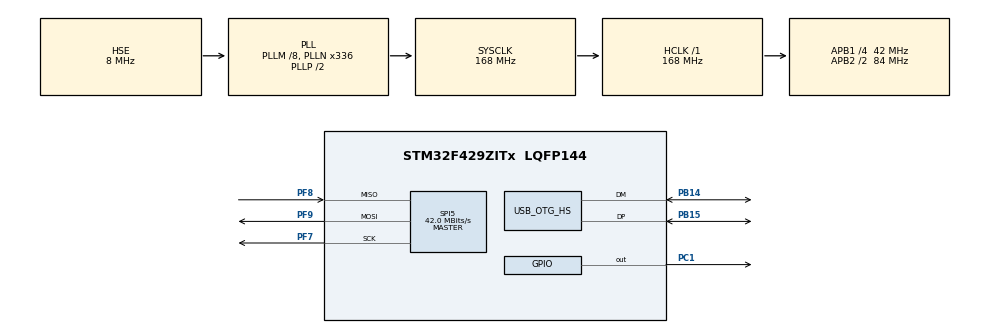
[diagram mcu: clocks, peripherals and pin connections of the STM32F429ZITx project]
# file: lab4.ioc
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Mcu.Family=STM32F4
NVIC.OTG_HS_IRQn=true\:5\:0\:false\:false\:true\:true\:true\:true
VP_SYS_VS_tim6.Mode=TIM6
VP_USB_DEVICE_VS_USB_DEVICE_CDC_HS.Mode=CDC_HS
RCC.CortexFreq_Value=168000000
FREERTOS.Tasks01=MyTask02,24,256,StartTask02,Default,NULL,Dynamic,NULL,NULL;myTask01,24,256,StartTask01,Default,NULL,Dynamic,NULL,NULL
NVIC.TIM6_DAC_IRQn=true\:0\:0\:false\:false\:true\:false\:false\:true
RCC.APB1CLKDivider=RCC_HCLK_DIV4
PB15.Signal=USB_OTG_HS_DP
USB_OTG_HS.VirtualMode-Device_Only_FS=Device_Only_FS
SPI5.Mode=SPI_MODE_MASTER
RCC.SYSCLKSource=RCC_SYSCLKSOURCE_PLLCLK
ProjectManager.StackSize=0x400
VP_FREERTOS_VS_CMSIS_V2.Mode=CMSIS_V2
PF7.Mode=Full_Duplex_Master
ProjectManager.TargetToolchain=STM32CubeIDE
PF7.Signal=SPI5_SCK
PH0/OSC_IN.Mode=HSE-External-Oscillator
RCC.HCLKFreq_Value=168000000
RCC.APB2TimFreq_Value=168000000
PH1/OSC_OUT.Signal=RCC_OSC_OUT
RCC.LSE_VALUE=32768
USB_DEVICE.VirtualMode-CDC_HS=Cdc
RCC.AHBFreq_Value=168000000
PB14.Signal=USB_OTG_HS_DM
RCC.HSE_VALUE=8000000
board=custom
RCC.VCOOutputFreq_Value=336000000
PB15.Mode=Device_Only_FS
PH0/OSC_IN.Signal=RCC_OSC_IN
RCC.APB2Freq_Value=84000000
PF9.Mode=Full_Duplex_Master
PB14.Mode=Device_Only_FS
PF8.Mode=Full_Duplex_Master
PH1/OSC_OUT.Mode=HSE-External-Oscillator
Mcu.Name=STM32F429ZITx
RCC.48MHZClocksFreq_Value=48000000
RCC.SYSCLKFreq_VALUE=168000000
Mcu.Package=LQFP144
NVIC.TimeBase=TIM6_DAC_IRQn
NVIC.TimeBaseIP=TIM6
USB_DEVICE.CLASS_NAME_HS=CDC
ProjectManager.HeapSize=0x200
PF8.Signal=SPI5_MISO
RCC.HSI_VALUE=16000000
PF9.Signal=SPI5_MOSI
RCC.PLLQ=7
SPI5.CalculateBaudRate=42.0 MBits/s
NVIC.PriorityGroup=NVIC_PRIORITYGROUP_4
USB_DEVICE.VirtualModeHS=Cdc_HS
RCC.APB2CLKDivider=RCC_HCLK_DIV2
RCC.PLLM=8
RCC.PLLN=336
RCC.APB1TimFreq_Value=84000000
RCC.APB1Freq_Value=42000000
SPI5.VirtualType=VM_MASTER
PC1.Signal=GPIO_Output
SPI5.Direction=SPI_DIRECTION_2LINES

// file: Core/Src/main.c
/* USER CODE BEGIN Header */
/**
  ******************************************************************************
  * @file           : main.c
  * @brief          : Main program body
  ******************************************************************************
  * @attention
  *
  * <h2><center>&copy; Copyright (c) 2022 STMicroelectronics.
  * All rights reserved.</center></h2>
  *
  * This software component is licensed by ST under BSD 3-Clause license,
  * the "License"; You may not use this file except in compliance with the
  * License. You may obtain a copy of the License at:
  *                        opensource.org/licenses/BSD-3-Clause
  *
  ******************************************************************************
  */
/* USER CODE END Header */
#include "main.h"
#include "cmsis_os.h"
#include "usb_device.h"
#include "stm32f429i_discovery_lcd.h"
#include "stm32f429i_discovery_gyroscope.h"
#include "MyLib.h"
#include "math.h"
#include "usbd_cdc_if.h"
#include "string.h"
#include "cmsis_os2.h"
SPI_HandleTypeDef hspi5;

char bufposx[5];
char bufposy[5];
char bufposz[5];

/* Definitions for MyTask02 */
osThreadId_t MyTask02Handle;
const osThreadAttr_t MyTask02_attributes = {
  .name = "MyTask02",
  .stack_size = 256 * 4,
  .priority = (osPriority_t) osPriorityNormal,
};
/* Definitions for myTask01 */
osThreadId_t myTask01Handle;
const osThreadAttr_t myTask01_attributes = {
  .name = "myTask01",
  .stack_size = 256 * 4,
  .priority = (osPriority_t) osPriorityNormal,
};

void SystemClock_Config(void);
static void MX_GPIO_Init(void);
static void MX_SPI5_Init(void);
void StartTask02(void *argument);
void StartTask01(void *argument);

/* USER CODE BEGIN 0 */

/*
 * @brief 	Kiem tra gia tri moi lon hon gia tri cu 1 don vi hay khong
 * @return 	Neu co it nhat 1 gia tri moi lon hon gia tri cu 1 don vi thi tra ve 1
 * 			Nguoc lai, tra ve 0
 */
uint8_t NoiseFilter(float* oldvalue,float* newvalue,int offset){
	uint8_t res = 0;
	for(uint8_t i=0;i<3;i++){
		if(abs(newvalue[i] - oldvalue[i]) > offset) res = 1;
	}
	return res;
}

void ConcatenateStr(const char* firstStr, char* secondStr, char* res){
	uint8_t frlen = strlen(firstStr);
	uint8_t total_len = frlen + strlen(secondStr);
	for(uint8_t i=0;i<total_len;i++){
		if(i<frlen) res[i] = firstStr[i];
		else res[i] = secondStr[i-frlen];
	}
	res[total_len] = '\0';
}

void ResetStr(char* str){
	uint8_t len = strlen(str);
	for(uint8_t i=0;i<len;i++){
		str[i] = '\0';
	}
}

/* USER CODE END 0 */

int main(void)
{

  HAL_Init();

  SystemClock_Config();

  MX_GPIO_Init();
  MX_SPI5_Init();

  osKernelInitialize();

  MyTask02Handle = osThreadNew(StartTask02, NULL, &MyTask02_attributes);

  /* creation of myTask01 */
  myTask01Handle = osThreadNew(StartTask01, NULL, &myTask01_attributes);

  /* Start scheduler */
  osKernelStart();

  /* We should never get here as control is now taken by the scheduler */
  /* Infinite loop */
  while (1)
  {
  }
}

void SystemClock_Config(void)
{
  RCC_OscInitTypeDef RCC_OscInitStruct = {0};
  RCC_ClkInitTypeDef RCC_ClkInitStruct = {0};

  /** Configure the main internal regulator output voltage
  */
  __HAL_RCC_PWR_CLK_ENABLE();
  __HAL_PWR_VOLTAGESCALING_CONFIG(PWR_REGULATOR_VOLTAGE_SCALE1);
  /** Initializes the RCC Oscillators according to the specified parameters
  * in the RCC_OscInitTypeDef structure.
  */
  RCC_OscInitStruct.OscillatorType = RCC_OSCILLATORTYPE_HSE;
  RCC_OscInitStruct.HSEState = RCC_HSE_ON;
  RCC_OscInitStruct.PLL.PLLState = RCC_PLL_ON;
  RCC_OscInitStruct.PLL.PLLSource = RCC_PLLSOURCE_HSE;
  RCC_OscInitStruct.PLL.PLLM = 8;
  RCC_OscInitStruct.PLL.PLLN = 336;
  RCC_OscInitStruct.PLL.PLLP = RCC_PLLP_DIV2;
  RCC_OscInitStruct.PLL.PLLQ = 7;
  if (HAL_RCC_OscConfig(&RCC_OscInitStruct) != HAL_OK)
  {
    Error_Handler();
  }
  /** Initializes the CPU, AHB and APB buses clocks
  */
  RCC_ClkInitStruct.ClockType = RCC_CLOCKTYPE_HCLK|RCC_CLOCKTYPE_SYSCLK
                              |RCC_CLOCKTYPE_PCLK1|RCC_CLOCKTYPE_PCLK2;
  RCC_ClkInitStruct.SYSCLKSource = RCC_SYSCLKSOURCE_PLLCLK;
  RCC_ClkInitStruct.AHBCLKDivider = RCC_SYSCLK_DIV1;
  RCC_ClkInitStruct.APB1CLKDivider = RCC_HCLK_DIV4;
  RCC_ClkInitStruct.APB2CLKDivider = RCC_HCLK_DIV2;

  if (HAL_RCC_ClockConfig(&RCC_ClkInitStruct, FLASH_LATENCY_5) != HAL_OK)
  {
    Error_Handler();
  }
}

static void MX_SPI5_Init(void)
{

  /* SPI5 parameter configuration*/
  hspi5.Instance = SPI5;
  hspi5.Init.Mode = SPI_MODE_MASTER;
  hspi5.Init.Direction = SPI_DIRECTION_2LINES;
  hspi5.Init.DataSize = SPI_DATASIZE_8BIT;
  hspi5.Init.CLKPolarity = SPI_POLARITY_LOW;
  hspi5.Init.CLKPhase = SPI_PHASE_1EDGE;
  hspi5.Init.NSS = SPI_NSS_SOFT;
  hspi5.Init.BaudRatePrescaler = SPI_BAUDRATEPRESCALER_2;
  hspi5.Init.FirstBit = SPI_FIRSTBIT_MSB;
  hspi5.Init.TIMode = SPI_TIMODE_DISABLE;
  hspi5.Init.CRCCalculation = SPI_CRCCALCULATION_DISABLE;
  hspi5.Init.CRCPolynomial = 10;
  if (HAL_SPI_Init(&hspi5) != HAL_OK)
  {
    Error_Handler();
  }

}

static void MX_GPIO_Init(void)
{
  GPIO_InitTypeDef GPIO_InitStruct = {0};

  /* GPIO Ports Clock Enable */
  __HAL_RCC_GPIOF_CLK_ENABLE();
  __HAL_RCC_GPIOH_CLK_ENABLE();
  __HAL_RCC_GPIOC_CLK_ENABLE();
  __HAL_RCC_GPIOB_CLK_ENABLE();

  /*Configure GPIO pin Output Level */
  HAL_GPIO_WritePin(GPIOC, GPIO_PIN_1, GPIO_PIN_RESET);

  /*Configure GPIO pin : PC1 */
  GPIO_InitStruct.Pin = GPIO_PIN_1;
  GPIO_InitStruct.Mode = GPIO_MODE_OUTPUT_PP;
  GPIO_InitStruct.Pull = GPIO_NOPULL;
  GPIO_InitStruct.Speed = GPIO_SPEED_FREQ_LOW;
  HAL_GPIO_Init(GPIOC, &GPIO_InitStruct);

}

void StartTask02(void *argument)
{
  /* init code for USB_DEVICE */
  MX_USB_DEVICE_Init();
  /* USER CODE BEGIN 5 */
  /* Infinite loop */
  for(;;)
  {

	  CDC_Transmit_HS(bufposx, strlen(bufposx));
	  CDC_Transmit_HS(bufposy, strlen(bufposy));
	  CDC_Transmit_HS(bufposz, strlen(bufposz));
    osDelay(500);
  }
  /* USER CODE END 5 */
}

void StartTask01(void *argument)
{
	uint8_t cnt = 0,a_cnt = 0;
	float pos[3],oldpos[3] = {0};
	float angle[3];
	uint8_t x_direction,y_direction,idle;
  /* USER CODE BEGIN StartTask01 */
	if (BSP_GYRO_Init() != GYRO_OK){
		  BSP_LCD_DisplayStringAtLine(2,(uint8_t*)"CAN'T FIND GYRO");
		  while(1);
	osDelay(2000); // delay 2s để task1 thực hiện xong init
	}
	pPoint Points[]= {{80, 100}, {105, 50}, {130, 100}};
	BSP_LCD_Init();//init LCD
	//set the layer buffer address into SDRAM
	BSP_LCD_LayerDefaultInit(1, SDRAM_DEVICE_ADDR);
	BSP_LCD_SelectLayer(1);//select on which layer we write
	BSP_LCD_DisplayOn();//turn on LCD
	BSP_LCD_Clear(LCD_COLOR_WHITE);//clear the LCD on blue color
	BSP_LCD_SetBackColor(LCD_COLOR_WHITE);//set text background color
	BSP_LCD_SetTextColor(LCD_COLOR_BLUE);//set text color
	//write text
	//BSP_LCD_FillPolygon(Points, 3);
	BSP_LCD_DisplayStringAtLine(2,"x= 0");
	BSP_LCD_DisplayStringAtLine(3,"y= 0");
	BSP_LCD_DisplayStringAtLine(4,"z= 0");
  /* Infinite loop */
  for(;;)
  {
	BSP_GYRO_GetXYZ(pos);
	for(uint8_t i = 0;i<3;i++){
		// tich phan van toc tren mien t: S = v.dt (S la goc nghieng, v la  van toc goc)
		// lenh dieu kien de chan cac gia tri gay nhieu, co the dan den go'c nga`y cang lon'
		if(abs(pos[i])>500) angle[i]+= pos[i]*0.005/1000;
		pos[i] /= 1000; 	// chuyen tu mdps qua dps
	}

	/* 	Cu moi 5*100 ms thuc hien kiem tra van toc goc 1 lan,
	/*	neu su thay doi > 1 dps thi cap nhat vao trong chuoi~ bufpos */
	if(cnt > 100){
		cnt = 0;
		if(NoiseFilter(oldpos, pos, 1)){
			ftoa(pos[0], bufposx, 1);
			BSP_LCD_DisplayStringAtLine(2, bufposx);
			ftoa(pos[1], bufposy, 1);
			BSP_LCD_DisplayStringAtLine(3, bufposy);
			ftoa(pos[2], bufposz, 1);
			BSP_LCD_DisplayStringAtLine(4, bufposz);
			oldpos[0] = pos[0];
			oldpos[1] = pos[1];
			oldpos[2] = pos[2];
		}
	}

	/* moi~ 20*5 ms kiem tra su thay doi goc xoay 1 lan*/
	/* Neu sau 20*5, su thay doi goc > 3 do => gyro dang xoay, kiem tra trang thai xoay => dua ra ket qua */
	if(a_cnt > 20){
		a_cnt = 0;
			/* Su dung nhi phan {x_direction,y_direction} de to hop 4 trang thai*/
			if(angle[0] > 0) x_direction = 1;
			else x_direction = 0;
			if(angle[1] > 0) y_direction = 1;
			else y_direction = 0;
			switch(x_direction*2+y_direction){
			case 0:
				BSP_LCD_DisplayStringAtLine(6,(uint8_t*)"huong 0");
				break;
			case 1:
				BSP_LCD_DisplayStringAtLine(6,(uint8_t*)"huong 1");
				break;
			case 2:
				BSP_LCD_DisplayStringAtLine(6,(uint8_t*)"huong 2");
				break;
			case 3:
				BSP_LCD_DisplayStringAtLine(6,(uint8_t*)"huong 3");
				break;
			default:
				break;
			}
	}

	cnt++;
	a_cnt++;
  }
  /* USER CODE END StartTask01 */
}

 /**
  * @brief  Period elapsed callback in non blocking mode
  * @note   This function is called  when TIM6 interrupt took place, inside
  * HAL_TIM_IRQHandler(). It makes a direct call to HAL_IncTick() to increment
  * a global variable "uwTick" used as application time base.
  * @param  htim : TIM handle
  * @retval None
  */
void HAL_TIM_PeriodElapsedCallback(TIM_HandleTypeDef *htim)
{
  if (htim->Instance == TIM6) {
    HAL_IncTick();
  }
}

void Error_Handler(void)
{
  __disable_irq();
  while (1)
  {
  }
}

/************************ (C) COPYRIGHT STMicroelectronics *****END OF FILE****/
